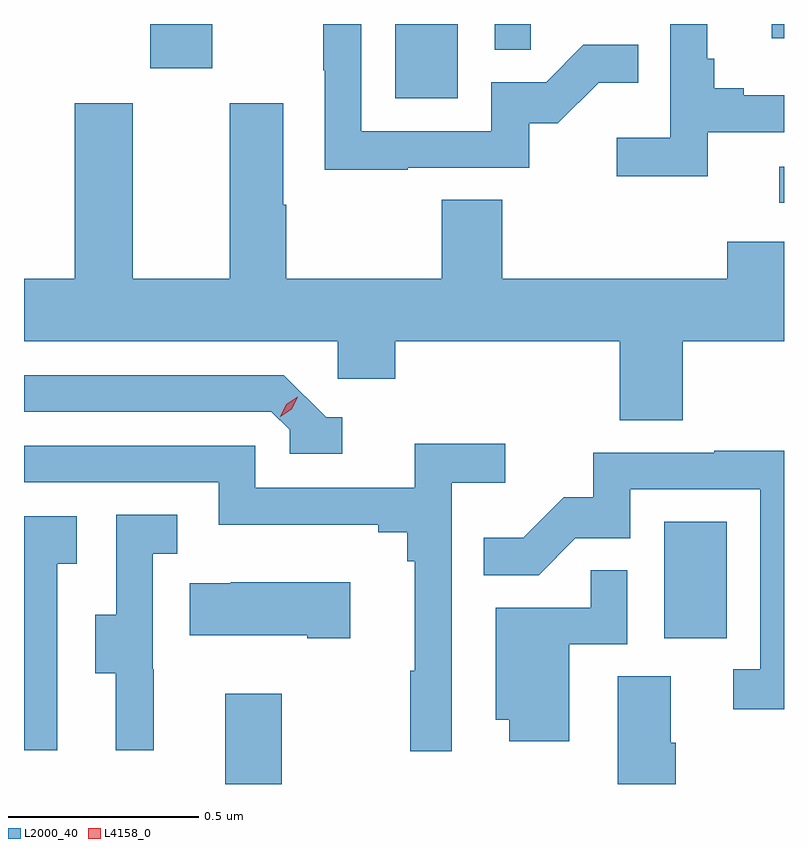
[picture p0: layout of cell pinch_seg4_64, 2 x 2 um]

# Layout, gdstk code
import gdstk
lib = gdstk.Library(unit=1e-6, precision=1e-09)
def R(c, l, rs):  # rectangles x0, y0, x1, y1
    for r in rs: c.add(gdstk.rectangle(r[:2], r[2:], *l))
def P(c, l, *ps):  # polygons
    for p in ps: c.add(gdstk.Polygon(p, *l))
L2000_40 = (2000, 40)
L4158_0 = (4158, 0)

pinch_seg4_64 = lib.new_cell('pinch_seg4_64')
R(pinch_seg4_64, L2000_40, [(1044.881,811.639,1045.029,811.876), (1046.036,812.022,1046.2,812.329), (1046.339,813.168,1046.351,813.264), (1045.328,813.444,1045.492,813.639), (1044.683,813.522,1044.847,813.639), (1045.59,813.571,1045.685,813.639), (1046.319,813.602,1046.351,813.639)])
P(pinch_seg4_64, L2000_40, [(1045.361,813.261),(1045.68,813.261),(1045.68,813.378),(1045.756,813.378),(1045.863,813.485),(1045.967,813.485),(1045.967,813.584),(1045.823,813.584),(1045.725,813.486),(1045.581,813.486),(1045.581,813.357),(1045.239,813.357),(1045.239,813.639),(1045.138,813.639),(1045.138,813.517),(1045.143,813.517),(1045.143,813.256),(1045.361,813.256)],
  [(1046.15,813.354),(1046.351,813.354),(1046.351,813.451),(1046.245,813.451),(1046.245,813.47),(1046.168,813.47),(1046.168,813.547),(1046.149,813.547),(1046.149,813.639),(1046.052,813.639),(1046.052,813.34),(1045.911,813.34),(1045.911,813.238),(1046.15,813.238)],
  [(1046.084,812.804),(1046.351,812.804),(1046.351,813.066),(1046.201,813.066),(1046.201,812.968),(1045.61,812.968),(1045.61,813.176),(1045.45,813.176),(1045.45,812.968),(1045.041,812.968),(1045.041,813.164),(1045.033,813.164),(1045.033,813.43),(1044.893,813.43),(1044.893,812.968),(1044.637,812.968),(1044.637,813.43),(1044.485,813.43),(1044.485,812.968),(1044.351,812.968),(1044.351,812.804),(1045.176,812.804),(1045.176,812.706),(1045.328,812.706),(1045.328,812.804),(1045.919,812.804),(1045.919,812.596),(1046.084,812.596)],
  [(1045.189,812.604),(1045.146,812.604),(1045.035,812.715),(1044.351,812.715),(1044.351,812.619),(1045.002,812.619),(1045.05,812.571),(1045.05,812.508),(1045.189,812.508)],
  [(1045.476,812.432),(1045.618,812.432),(1045.618,812.534),(1045.379,812.534),(1045.379,812.418),(1044.96,812.418),(1044.96,812.529),(1044.351,812.529),(1044.351,812.433),(1044.864,812.433),(1044.864,812.321),(1045.283,812.321),(1045.283,812.302),(1045.36,812.302),(1045.36,812.225),(1045.379,812.225),(1045.379,811.937),(1045.368,811.937),(1045.368,811.725),(1045.476,811.725)],
  [(1046.351,812.516),(1046.167,812.516),(1046.167,812.511),(1045.849,812.511),(1045.849,812.394),(1045.772,812.394),(1045.665,812.287),(1045.561,812.287),(1045.561,812.189),(1045.705,812.189),(1045.802,812.286),(1045.947,812.286),(1045.947,812.415),(1046.289,812.415),(1046.289,811.941),(1046.217,811.941),(1046.217,811.836),(1046.351,811.836)],
  [(1044.692,811.941),(1044.69,811.941),(1044.69,812.245),(1044.754,812.245),(1044.754,812.348),(1044.594,812.348),(1044.594,812.085),(1044.539,812.085),(1044.539,811.93),(1044.593,811.93),(1044.593,811.728),(1044.692,811.728)],
  [(1044.438,812.219),(1044.49,812.219),(1044.49,812.343),(1044.351,812.343),(1044.351,811.728),(1044.438,811.728)],
  [(1045.786,812.007),(1045.938,812.007),(1045.938,812.201),(1045.843,812.201),(1045.843,812.103),(1045.592,812.103),(1045.592,811.808),(1045.628,811.808),(1045.628,811.752),(1045.786,811.752)],
  [(1045.21,812.17),(1044.895,812.17),(1044.895,812.167),(1044.787,812.167),(1044.787,812.03),(1045.097,812.03),(1045.097,812.023),(1045.21,812.023)],
  [(1046.066,811.748),(1046.053,811.748),(1046.053,811.922),(1045.913,811.922),(1045.913,811.639),(1046.066,811.639)])
P(pinch_seg4_64, L4158_0, [(1045.025,812.606),(1045.025,812.606),(1045.041,812.639),(1045.072,812.658),(1045.072,812.658),(1045.072,812.658),(1045.056,812.625),(1045.025,812.606)])

lib.write_gds('pinch_seg4_64.gds')
